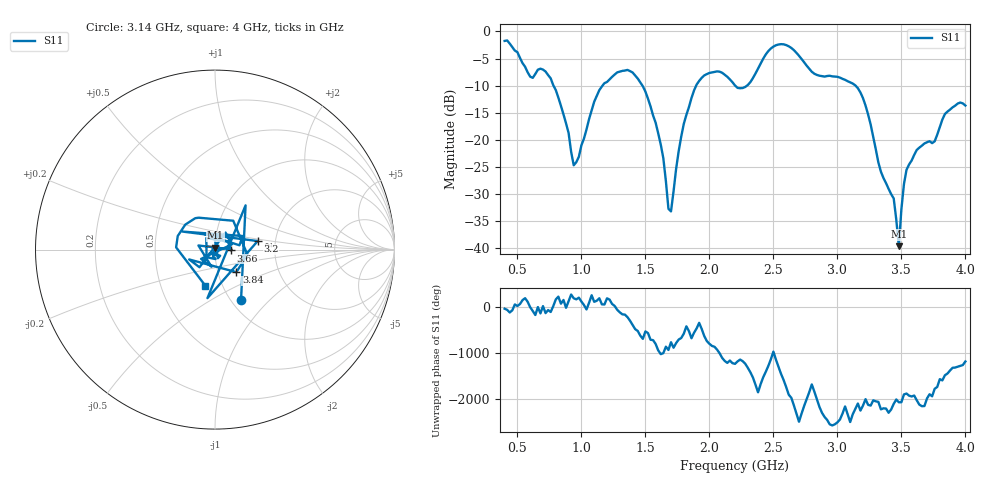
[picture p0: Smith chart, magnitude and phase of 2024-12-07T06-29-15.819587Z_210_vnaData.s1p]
!Created with skrf (http://scikit-rf.org).
# Hz S RI R 50.0
!freq ReS11 ImS11
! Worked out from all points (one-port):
!   181 points, 400 MHz to 4 GHz, reference 50 ohm
!   lowest |S11| = -39.6 dB at 3.48 GHz (marker M1), VSWR 1.02, Z = 50.1 + j1.04 ohm
!   |S11| at or under -10 dB: 782 MHz to 1.165 GHz (382.9 MHz wide, 39.3 % of centre); 1.477 GHz to 1.896 GHz (419.4 MHz wide, 24.9 % of centre); 3.142 GHz to end of sweep (the widest 3 of 4)
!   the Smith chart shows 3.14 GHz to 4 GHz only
!   S11 on the Smith chart (normalised r, x): 3.14 GHz: 1.11, -0.70; 3.2 GHz: 1.61, +0.16; 3.66 GHz: 1.19, -0.01; 3.84 GHz: 1.23, -0.32; 4 GHz: 0.83, -0.35
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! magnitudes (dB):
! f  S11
! 400 MHz  -1.7
! 600 MHz  -8.3
! 720 MHz  -7.4
! 860 MHz  -15.3
! 940 MHz  -24.7
! 1.14 GHz  -10.8
! 1.3 GHz  -7.4
! 1.52 GHz  -12.4
! 1.64 GHz  -23.4
! 1.68 GHz  -32.7
! 1.7 GHz  -33.2
! 1.76 GHz  -22.1
! 1.94 GHz  -8.6
! 2.2 GHz  -10.0
! 2.5 GHz  -2.8
! 2.66 GHz  -3.4
! 3.1 GHz  -9.4
! 3.14 GHz  -9.9
! 3.2 GHz  -12.3
! 3.34 GHz  -25.9
! 3.44 GHz  -30.8
! 3.48 GHz  -39.6
! 3.52 GHz  -28.2
! 3.56 GHz  -24.5
! 3.66 GHz  -21.1
! 3.76 GHz  -20.3
! 3.84 GHz  -15.2
! 4 GHz  -13.7
